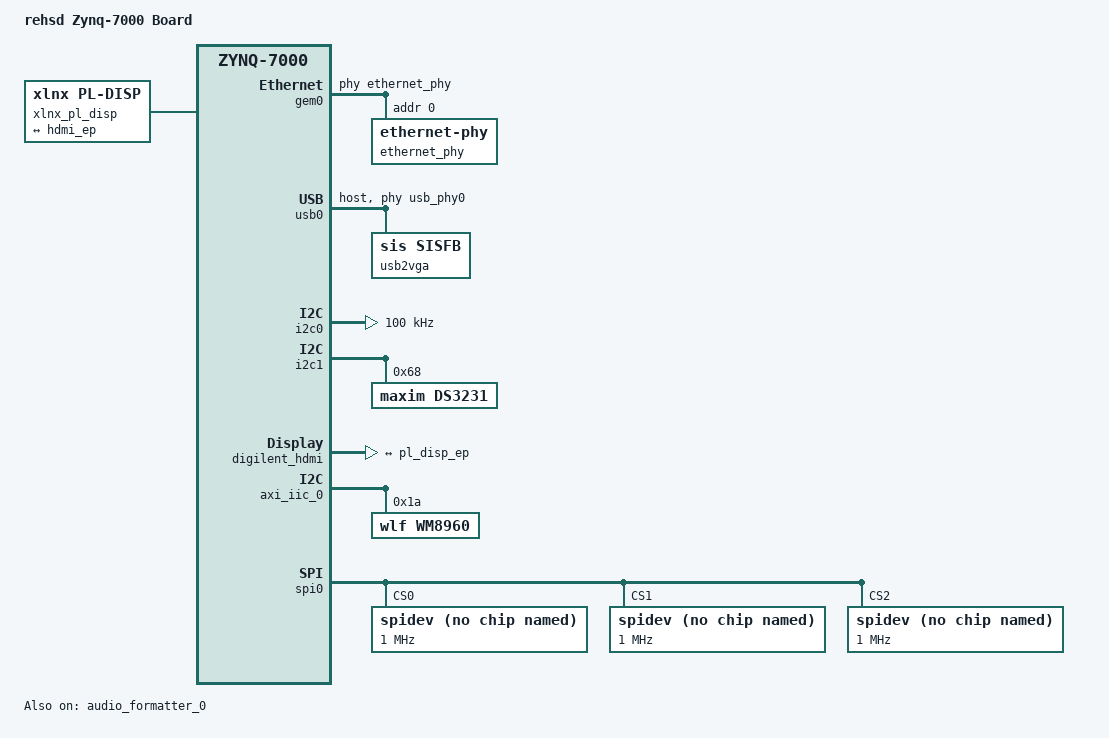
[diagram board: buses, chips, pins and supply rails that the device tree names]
/include/ "system-conf.dtsi"
#include <dt-bindings/gpio/gpio.h>
/ {
	model = "rehsd Zynq-7000 Board";
	compatible = "rehsd,zynq-7000", "xlnx,zynq-7000";
	chosen {
		bootargs = "console=ttyPS0,115200 earlyprintk root=/dev/mmcblk0p2 rw rootwait uio_pdrv_genirq.of_id=generic-uio video=HDMI-A-1:1280x720M-24@60";
	};
	
	usb_phy0: usb_phy@0 {
		compatible = "ulpi-phy";
		#phy-cells = <0>;
		reg = <0xe0002000 0x1000>;
		view-port = <0x0170>;
		reset-gpios = <&gpio0 46 1>;
		drv-vbus;
	};
};

&gem0 {
        phy-handle = <&ethernet_phy>;
        ethernet_phy: ethernet-phy@0 {
                device_type = "ethernet-phy";
                reg = <0>;
                /* dt-bindings/phy/realtek.h */
                /* #define REALTEK_LED_LINK10              BIT(0)
                   #define REALTEK_LED_LINK100             BIT(1)
                   #define REALTEK_LED_LINK1000            BIT(3)
                   #define REALTEK_LED_ACT                 BIT(4)
                   #define REALTEK_LED_DEFAULT             BIT(7)
                */
                /* LED0=10+A, LED1=100+A, LED2=1000+A */
                realtek,leds-config = <0x11 0x12 0x18>;
        };
};
&usb0 {
   	status = "okay";
   	dr_mode = "host";
   	usb-phy = <&usb_phy0>;

	
	/* HID (Human Interface Device) for mouse */
	/* mouse@1 {
	    compatible = "usb-mouse";
	    status = "okay";
	};
	*/

	usb2vga {
		compatible = "sis,sisfb";	/* sisusb (x), sisfb (x), sisusbvga, sis ? */
		vendor_id = <0x0711>;
		product_id = <0x0900>;
		status = "okay"; 
		framebuffer {
			label = "fb1"; 
			compatible = "linux,fb"; 
			linux,fb_base = <0x0>; 
		};
	};
};
&i2c0 {
    	clock-frequency = <100000>;
    	status = "okay";
};
&i2c1 {
	status = "okay";
	ds3231: rtc@68 {
		compatible = "maxim,ds3231";
		reg = <0x68>;
	};
};

&amba_pl {
	digilent_hdmi {
		compatible = "digilent,hdmi";
		clocks = <&axi_dynclk_0>;
		clock-names = "clk";
		digilent,edid-i2c = <&i2c0>;
		digilent,fmax = <150000>;
		digilent,hmax = <1920>;
		digilent,vmax = <1080>;
		digilent,hpref = <1280>;
		digilent,vpref = <720>;
		port@0 { 
			hdmi_ep: endpoint { 
				remote-endpoint = <&pl_disp_ep>; 
			}; 
		}; 
	};
	xlnx_pl_disp {
		compatible = "xlnx,pl-disp";
		device-id = <0xaa01>;
		dmas = <&axi_vdma_0 0>; 	
		dma-names = "dma0"; 
		xlnx,vformat = "RG24"; 	/* "RG24" -- XB24.no BG24.no AR24.no XR24.no RG24.yes */
		xlnx,bridge = <&v_tc_0>; 
		port@0 { 
			pl_disp_ep: endpoint { 
				remote-endpoint = <&hdmi_ep>; 
			}; 
		};
	};
	axi_iic_0: i2c@41600000 {
		interrupts = < 0 36 4 >;
		xlnx,iic-freq-khz = <100>;
		compatible = "xlnx,axi-iic-2.1" , "xlnx,xps-iic-2.00.a";
		xlnx,scl-inertial-delay = <0>;
		interrupt-parent = <&intc>;
		xlnx,rable = <0>;
		xlnx,ip-name = "axi_iic";
		xlnx,disable-setup-violation-check = <0>;
		reg = <0x41600000 0x10000>;
		clocks = <&misc_clk_1>;
		xlnx,gpo-width = <1>;
		xlnx,edk-iptype = "PERIPHERAL";
		xlnx,static-timing-reg-width = <0>;
		xlnx,sda-level = <1>;
		status = "okay";
		clock-names = "s_axi_aclk";
		xlnx,ten-bit-adr = <0>;
		xlnx,default-value = <0x0>;
		interrupt-names = "iic2intc_irpt";
		xlnx,iic-board-interface = "Custom";
		xlnx,timing-reg-width = <32>;
		xlnx,iic-freq = <100000>;
		xlnx,smbus-pmbus-host = <0>;
		xlnx,name = "axi_iic_0";
		xlnx,axi-aclk-freq-mhz = <48>;
		xlnx,sda-inertial-delay = <0>;
		wm8960: wm8960@1a {
			#sound-dai-cells = <0>;   // only single DAI
			compatible = "wlf,wm8960";
			clock-names ="mclk";
			clocks =<&misc_clk_0>;
			reg = <0x1a>;		//doesn't really matter, as no other i2c devices or addr lines on wm8960 device
		};
	};	
	i2s_receiver_0: i2s_receiver@43c20000 {
		audio-codec = <&wm8960>;
	};
	i2s_transmitter_0: i2s_transmitter@43c30000 {
		audio-codec = <&wm8960>;
	};
	audio_formatter_0: audio_formatter@43c00000 {
		xlnx,rx = <&i2s_receiver_0>;
		interrupts = < 0 32 4 0 33 4 >;
		compatible = "xlnx,audio-formatter-1.0" , "xlnx,audio-formatter-1.0";
		xlnx,packing-mode-mm2s = <0>;
		xlnx,mm2s-async-clock = <1>;
		xlnx,tx = <&i2s_transmitter_0>;
		xlnx,mm2s-addr-width = <64>;
		interrupt-parent = <&intc>;
		xlnx,rable = <0>;
		xlnx,s2mm-dataformat = <1>;
		xlnx,ip-name = "audio_formatter";
		reg = <0x43c00000 0x10000>;
		xlnx,include-s2mm = <1>;
		xlnx,max-num-channels-mm2s = <2>;
		clocks = <&misc_clk_0>, <&misc_clk_1>, <&misc_clk_1>, <&misc_clk_1>;
		xlnx,s2mm-async-clock = <1>;
		xlnx,packing-mode-s2mm = <0>;
		xlnx,edk-iptype = "PERIPHERAL";
		xlnx,s2mm-addr-width = <64>;
		status = "okay";
		clock-names = "aud_mclk" , "m_axis_mm2s_aclk" , "s_axi_lite_aclk" , "s_axis_s2mm_aclk";
		xlnx,mm2s-dataformat = <3>;
		interrupt-names = "irq_mm2s" , "irq_s2mm";
		xlnx,include-mm2s = <1>;
		xlnx,max-num-channels-s2mm = <2>;
		xlnx,name = "audio_formatter_0";
	};
};
&spi0 {
	is-decoded-cs = <0>;
	num-cs = <3>;
	bus-num = <0>;
	status = "okay";
	spidev@0x00 {
		//compatible = "spidev";
		//see https://www.hackster.io/whitney-knitter/spidev-tutorial-for-zynq-7000-fpga-devices-b5e399
		//see https://stackoverflow.com/questions/53634892/linux-spidev-why-it-shouldnt-be-directly-in-devicetree
		compatible = "rohm,dh2228fv";
		spi-max-frequency = <1000000>;    //max of 25 Mhz
		reg = <0>;
		
		//SPI mode
		spi-cpol = <0>;
		spi-cpha = <0>;
	};
	spidev@0x01 {
		compatible = "spidev";
		spi-max-frequency = <1000000>;
		reg = <1>;
	};
	spidev@0x02 {
		compatible = "spidev";
		spi-max-frequency = <1000000>;
		reg = <2>;
	};
};
&axi_vdma_0 {
	device-id = <0xaa02>;
	reg = < 0x43000000 0x10000 >;
	dma-ranges = <0x00000000 0x00000000 0x40000000>;
	xlnx,num-fstores = <0x4>;
	/*
	vdma-channel@43000000 {
		xlnx,datawidth = <0x40>;
		xlnx,device-id = <0x0>;
	} ;
	*/
};
&axi_dynclk_0 {
	compatible = "dglnt,axi-dynclk";
	#clock-cells = <0>;
	clocks = <&clkc 15>;
};
&v_tc_0 {
	compatible = "xlnx,bridge-v-tc-6.1";	/* 6.2 is the from the block design, but doesn't work here */
	xlnx,pixels-per-clock = <1>; 
};
&axi_gpio_hdmi {
	compatible = "generic-uio";	
};

